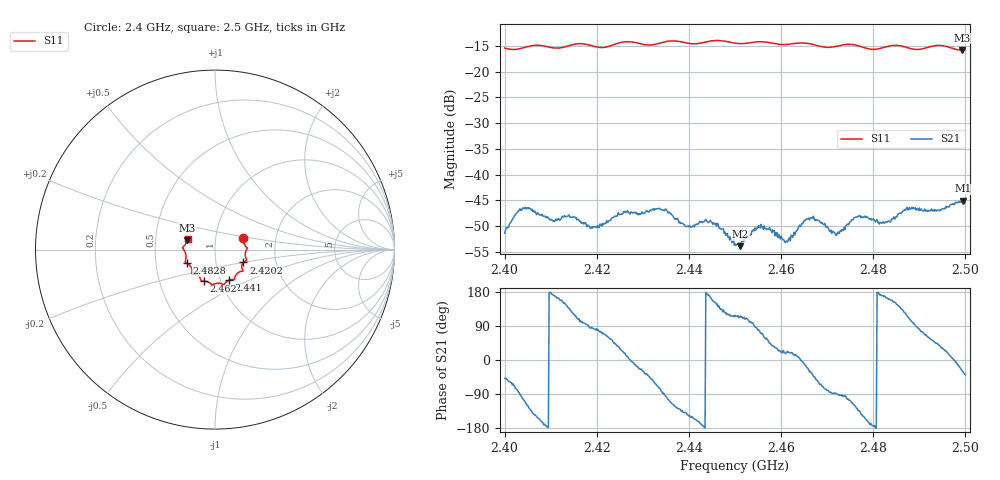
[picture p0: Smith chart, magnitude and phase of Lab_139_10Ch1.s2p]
# Hz S RI R 50
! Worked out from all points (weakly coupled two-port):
!   601 points, 2.4 GHz to 2.5 GHz, reference 50 ohm
!   highest |S21| = -45.07 dB at 2.4995 GHz (marker M1); lowest = -53.9 dB at 2.4512 GHz (marker M2)
!   lowest |S11| = -15.8 dB at 2.4993 GHz (marker M3), VSWR 1.39, Z = 36.5 + j3.89 ohm
!   |S11| at or under -10 dB: start of sweep to end of sweep
!   S12 and S22 are empty: the file has one direction only
!   S11 on the Smith chart (normalised r, x): 2.4 GHz: 1.36, +0.17; 2.4202 GHz: 1.36, -0.20; 2.441 GHz: 1.10, -0.39; 2.462 GHz: 0.84, -0.30; 2.4828 GHz: 0.72, -0.11; 2.5 GHz: 0.73, +0.09
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2.4e9  0.1583 0.0622  0.00179 -0.00202  0 0  0 0
2.4045e9  0.1722 0.0164  -0.00177 -0.00448  0 0  0 0
2.416667e9  0.1773 -0.0608  -0.000573 0.00332  0 0  0 0
2.420167e9  0.1582 -0.0715  0.000654 0.00314  0 0  0 0
2.426333e9  0.1563 -0.1182  0.0042 0.000884  0 0  0 0
2.433333e9  0.1115 -0.1512  0.00151 -0.00441  0 0  0 0
2.441e9  0.0784 -0.1699  -0.00289 -0.00141  0 0  0 0
2.445833e9  0.0502 -0.1951  -0.00292 0.00166  0 0  0 0
2.45e9  0.028 -0.1877  -0.000994 0.00189  0 0  0 0
2.451167e9  0.016 -0.1871  -0.000881 0.00181  0 0  0 0
2.455333e9  -0.0138 -0.1952  0.000727 0.00304  0 0  0 0
2.462e9  -0.0607 -0.1757  0.00215 0.000736  0 0  0 0
2.466667e9  -0.0789 -0.168  0.00309 -0.00218  0 0  0 0
2.472167e9  -0.1149 -0.1352  1.31e-05 -0.00267  0 0  0 0
2.476667e9  -0.1271 -0.1268  -0.00264 -0.00284  0 0  0 0
2.482833e9  -0.1576 -0.0765  -0.00332 0.000948  0 0  0 0
2.483333e9  -0.1608 -0.075  -0.00334 0.0012  0 0  0 0
2.487333e9  -0.1626 -0.0565  -0.00217 0.0043  0 0  0 0
2.494167e9  -0.1804 0.00975  0.00343 0.00292  0 0  0 0
2.499333e9  -0.1539 0.0519  0.00473 -0.00262  0 0  0 0
2.4995e9  -0.1534 0.054  0.00477 -0.00289  0 0  0 0
2.5e9  -0.1521 0.061  0.00419 -0.00333  0 0  0 0
